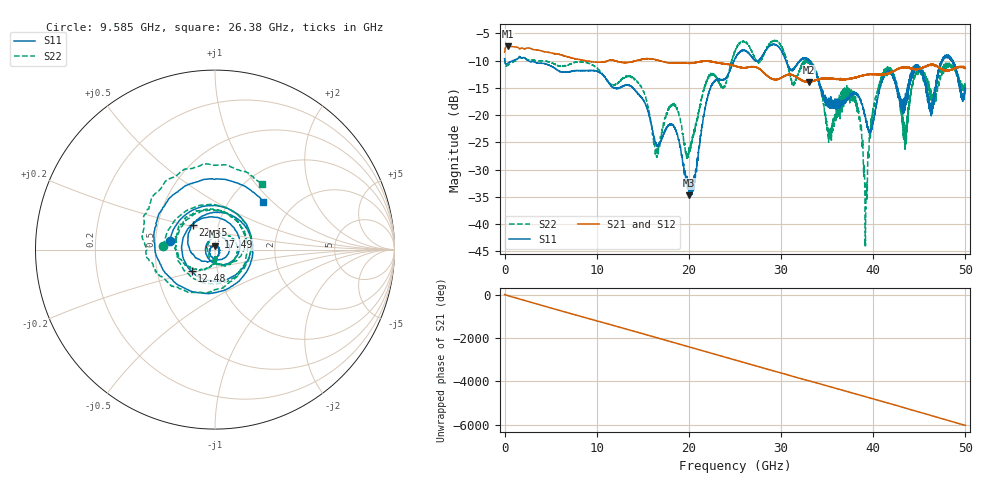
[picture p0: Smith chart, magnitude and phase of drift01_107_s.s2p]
!Created with skrf (http://scikit-rf.org).
# Hz S RI R 50.0
!freq ReS11 ImS11 ReS21 ImS21 ReS12 ImS12 ReS22 ImS22
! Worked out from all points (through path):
!   10001 points, 300 kHz to 50 GHz, reference 50 ohm
!   highest |S21| = -7.33 dB at 325.3 MHz (marker M1); lowest = -13.9 dB at 32.99 GHz (marker M2)
!   group delay of S21, straight-line fit = 335 ps
!   lowest |S11| = -34.7 dB at 20.01 GHz (marker M3), VSWR 1.04, Z = 49.9 + j1.83 ohm
!   |S11| at or under -10 dB: 2.553 GHz to 24.91 GHz (22.36 GHz wide, 163 % of centre); 30.52 GHz to 32.03 GHz (1.506 GHz wide, 4.82 % of centre); 33.07 GHz to 47.45 GHz (14.38 GHz wide, 35.7 % of centre) (the widest 3 of 17)
!   |S22| runs from -44.0 to -6.3 dB; largest |S21 - S12| = 0.011
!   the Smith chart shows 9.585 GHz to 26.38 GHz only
!   S11 on the Smith chart (normalised r, x): 9.585 GHz: 0.59, +0.06; 12.48 GHz: 0.75, -0.19; 17.49 GHz: 1.03, +0.15; 22.45 GHz: 0.75, +0.22; 26.38 GHz: 1.42, +0.88
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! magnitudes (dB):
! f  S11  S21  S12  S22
! 300 kHz  -9.7  -8.4  -8.5  -9.5
! 325.3 MHz  -10.5  -7.3  -7.3  -10.9
! 8.335 GHz  -11.8  -9.8  -9.8  -10.2
! 9.585 GHz  -11.8  -10.2  -10.2  -10.8
! 12.48 GHz  -15.0  -10.2  -10.2  -13.8
! 16.67 GHz  -25.6  -9.9  -9.9  -27.0
! 17.49 GHz  -22.7  -10.3  -10.3  -20.5
! 20.01 GHz  -34.7  -10.5  -10.5  -26.6
! 22.45 GHz  -14.6  -10.2  -10.2  -12.6
! 25 GHz  -9.6  -11.0  -11.0  -8.2
! 26.38 GHz  -8.4  -11.2  -11.3  -6.9
! 32.99 GHz  -9.8  -13.9  -13.8  -9.9
! 33.34 GHz  -10.6  -13.8  -13.8  -10.5
! 35.25 GHz  -17.7  -13.2  -13.3  -23.1
! 37.99 GHz  -15.9  -13.1  -13.2  -17.4
! 39.17 GHz  -20.5  -12.6  -12.6  -40.4
! 40.14 GHz  -19.9  -12.5  -12.5  -17.9
! 41.67 GHz  -11.9  -12.3  -12.3  -11.9
! 43.45 GHz  -17.2  -11.3  -11.3  -26.3
! 44.88 GHz  -11.3  -11.5  -11.6  -12.2
! 46.27 GHz  -19.8  -10.7  -10.7  -16.3
! 50 GHz  -15.4  -11.4  -11.3  -14.9
